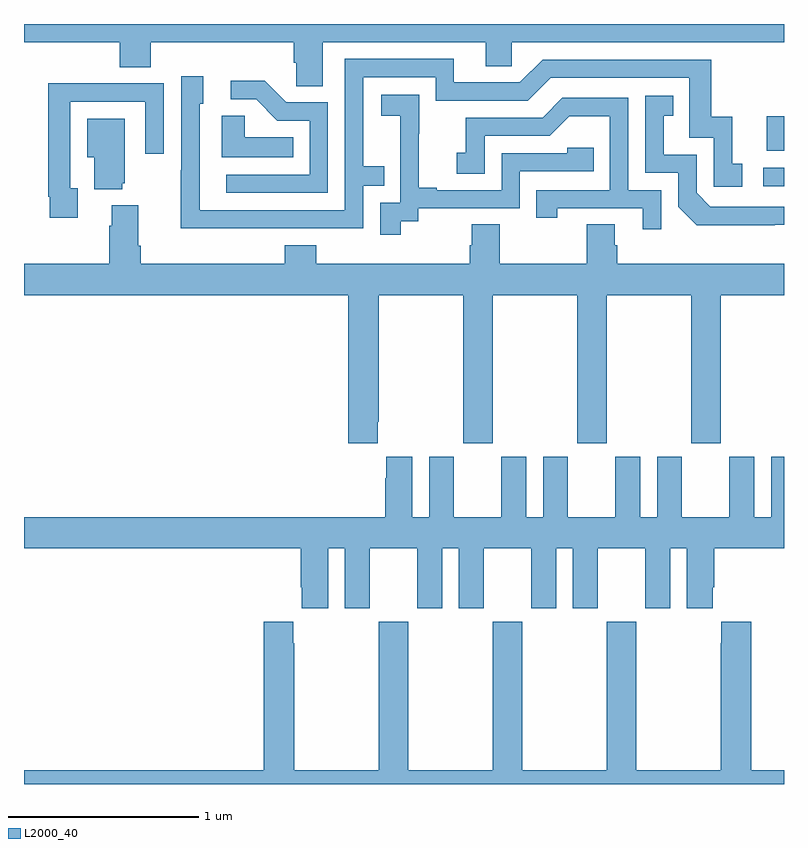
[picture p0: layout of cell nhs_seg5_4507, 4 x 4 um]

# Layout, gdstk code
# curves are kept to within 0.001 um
import gdstk
lib = gdstk.Library(unit=1e-6, precision=1e-09)
def R(c, l, rs):  # rectangles x0, y0, x1, y1
    for r in rs: c.add(gdstk.rectangle(r[:2], r[2:], *l))
def P(c, l, *ps):  # polygons
    for p in ps: c.add(gdstk.Polygon(p, *l))
L2000_40 = (2000, 40)

nhs_seg5_4507 = lib.new_cell('nhs_seg5_4507')
R(nhs_seg5_4507, L2000_40, [(378.891,911.946,379,912.042), (378.908,912.131,379,912.313)])
P(nhs_seg5_4507, L2000_40, [(376.573,912.704),(377.429,912.704),(377.429,912.577),(377.568,912.577),(377.568,912.704),(379,912.704),(379,912.799),(375,912.799),(375,912.704),(375.503,912.704),(375.503,912.571),(375.668,912.571),(375.668,912.704),(376.421,912.704),(376.421,912.595),(376.434,912.595),(376.434,912.472),(376.573,912.472)],
  [(376.289,911.724),(376.785,911.724),(376.785,911.949),(376.895,911.949),(376.895,912.05),(376.785,912.05),(376.785,912.519),(377.166,912.519),(377.166,912.396),(377.652,912.396),(377.772,912.516),(378.501,912.516),(378.501,912.201),(378.63,912.201),(378.63,911.943),(378.781,911.943),(378.781,912.063),(378.728,912.063),(378.728,912.31),(378.617,912.31),(378.617,912.612),(377.73,912.612),(377.61,912.492),(377.263,912.492),(377.263,912.615),(376.689,912.615),(376.689,911.82),(375.924,911.82),(375.924,912.378),(375.943,912.378),(375.943,912.523),(375.828,912.523),(375.828,912.029),(375.826,912.029),(375.826,911.723)],
  [(376.599,912.387),(376.38,912.387),(376.267,912.5),(376.089,912.5),(376.089,912.402),(376.223,912.402),(376.334,912.291),(376.503,912.291),(376.503,912.006),(376.065,912.006),(376.065,911.91),(376.599,911.91)],
  [(375.283,911.934),(375.243,911.934),(375.243,912.39),(375.639,912.39),(375.639,912.117),(375.735,912.117),(375.735,912.486),(375.419,912.486),(375.419,912.488),(375.127,912.488),(375.127,911.89),(375.135,911.89),(375.135,911.778),(375.283,911.778)],
  [(376.984,911.761),(377.076,911.761),(377.076,911.829),(377.61,911.829),(377.61,912.024),(377.999,912.024),(377.999,912.147),(377.859,912.147),(377.859,912.12),(377.514,912.12),(377.514,911.925),(377.173,911.925),(377.173,911.938),(377.078,911.938),(377.078,912.221),(377.079,912.221),(377.079,912.427),(376.881,912.427),(376.881,912.317),(376.979,912.317),(376.979,912.089),(376.98,912.089),(376.98,911.859),(376.875,911.859),(376.875,911.691),(376.984,911.691)],
  [(378.95,911.742),(379,911.742),(379,911.838),(378.612,911.838),(378.54,911.91),(378.54,912.111),(378.367,912.111),(378.367,912.315),(378.416,912.315),(378.416,912.421),(378.27,912.421),(378.27,912.015),(378.444,912.015),(378.444,911.838),(378.542,911.741)],
  [(378.354,911.925),(378.18,911.925),(378.18,912.411),(377.834,912.411),(377.729,912.306),(377.326,912.306),(377.326,912.121),(377.277,912.121),(377.277,912.012),(377.424,912.012),(377.424,912.21),(377.766,912.21),(377.87,912.314),(378.084,912.314),(378.084,911.925),(377.695,911.925),(377.695,911.778),(377.806,911.778),(377.806,911.829),(378.257,911.829),(378.257,911.718),(378.354,911.718)],
  [(376.418,912.202),(376.161,912.202),(376.161,912.317),(376.04,912.317),(376.04,912.098),(376.418,912.098)],
  [(375.518,911.961),(375.529,911.961),(375.529,912.301),(375.332,912.301),(375.332,912.098),(375.371,912.098),(375.371,911.93),(375.518,911.93)],
  [(376.861,910.705),(376.866,910.705),(376.866,911.372),(377.311,911.372),(377.311,910.593),(377.466,910.593),(377.466,911.372),(377.911,911.372),(377.911,910.593),(378.066,910.593),(378.066,911.372),(378.511,911.372),(378.511,910.593),(378.666,910.593),(378.666,911.372),(379,911.372),(379,911.536),(378.122,911.536),(378.122,911.634),(378.109,911.634),(378.109,911.744),(377.962,911.744),(377.962,911.536),(377.505,911.536),(377.505,911.744),(377.357,911.744),(377.357,911.634),(377.345,911.634),(377.345,911.536),(376.538,911.536),(376.538,911.635),(376.373,911.635),(376.373,911.536),(375.614,911.536),(375.614,911.632),(375.601,911.632),(375.601,911.845),(375.461,911.845),(375.461,911.738),(375.449,911.738),(375.449,911.536),(375,911.536),(375,911.372),(376.706,911.372),(376.706,910.593),(376.861,910.593)],
  [(376.6,910.04),(376.688,910.04),(376.688,909.723),(376.819,909.723),(376.819,910.04),(377.069,910.04),(377.069,909.723),(377.2,909.723),(377.2,910.04),(377.288,910.04),(377.288,909.723),(377.419,909.723),(377.419,910.04),(377.669,910.04),(377.669,909.723),(377.8,909.723),(377.8,910.04),(377.888,910.04),(377.888,909.723),(378.019,909.723),(378.019,910.04),(378.269,910.04),(378.269,909.723),(378.4,909.723),(378.4,910.04),(378.488,910.04),(378.488,909.723),(378.625,909.723),(378.625,909.835),(378.632,909.835),(378.632,910.04),(379,910.04),(379,910.522),(378.932,910.522),(378.932,910.204),(378.844,910.204),(378.844,910.522),(378.713,910.522),(378.713,910.204),(378.463,910.204),(378.463,910.522),(378.332,910.522),(378.332,910.204),(378.244,910.204),(378.244,910.522),(378.113,910.522),(378.113,910.204),(377.863,910.204),(377.863,910.522),(377.732,910.522),(377.732,910.204),(377.644,910.204),(377.644,910.522),(377.513,910.522),(377.513,910.204),(377.263,910.204),(377.263,910.522),(377.132,910.522),(377.132,910.204),(377.044,910.204),(377.044,910.522),(376.907,910.522),(376.907,910.409),(376.901,910.409),(376.901,910.204),(375,910.204),(375,910.04),(376.457,910.04),(376.457,909.835),(376.463,909.835),(376.463,909.723),(376.6,909.723)],
  [(379,908.872),(378.827,908.872),(378.827,909.652),(378.671,909.652),(378.671,909.539),(378.667,909.539),(378.667,908.872),(378.222,908.872),(378.222,909.652),(378.067,909.652),(378.067,908.872),(377.622,908.872),(377.622,909.652),(377.467,909.652),(377.467,908.872),(377.022,908.872),(377.022,909.652),(376.867,909.652),(376.867,908.872),(376.422,908.872),(376.422,909.539),(376.417,909.539),(376.417,909.652),(376.262,909.652),(376.262,908.872),(375,908.872),(375,908.799),(379,908.799)])

lib.write_gds('nhs_seg5_4507.gds')
